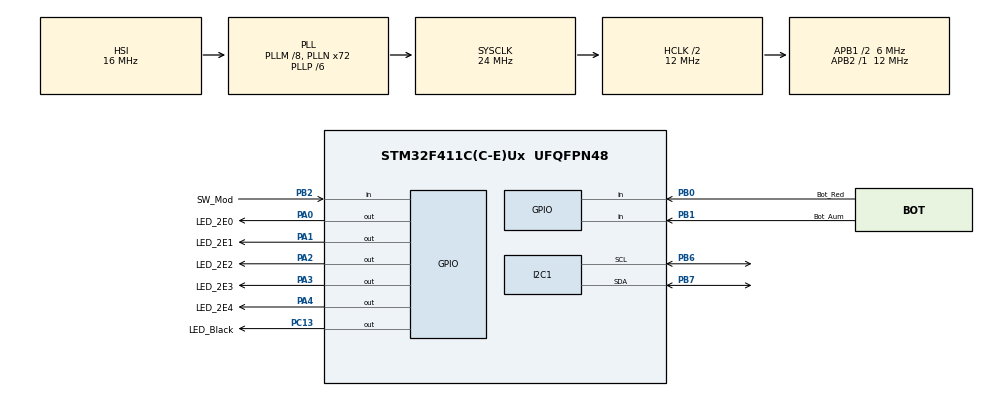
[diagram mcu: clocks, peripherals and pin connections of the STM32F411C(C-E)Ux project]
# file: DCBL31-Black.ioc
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Mcu.Family=STM32F4
Mcu.Name=STM32F411C(C-E)Ux
Mcu.Package=UFQFPN48
NVIC.PriorityGroup=NVIC_PRIORITYGROUP_4
NVIC.TIM4_IRQn=true\:0\:0\:false\:false\:true\:true\:true\:true
PA0-WKUP.GPIO_Label=LED_2E0
PA0-WKUP.Signal=GPIO_Output
PA1.GPIO_Label=LED_2E1
PA1.Signal=GPIO_Output
PA13.Mode=Serial_Wire
PA13.Signal=SYS_JTMS-SWDIO
PA14.Mode=Serial_Wire
PA14.Signal=SYS_JTCK-SWCLK
PA2.GPIO_Label=LED_2E2
PA2.Signal=GPIO_Output
PA3.GPIO_Label=LED_2E3
PA3.Signal=GPIO_Output
PA4.GPIO_Label=LED_2E4
PA4.Signal=GPIO_Output
PB0.GPIO_Label=Bot_Red
PB0.GPIO_PuPd=GPIO_PULLDOWN
PB0.Signal=GPIO_Input
PB1.GPIO_Label=Bot_Aum
PB1.GPIO_PuPd=GPIO_PULLDOWN
PB1.Signal=GPIO_Input
PB2.GPIO_Label=SW_Mod
PB2.GPIO_PuPd=GPIO_PULLUP
PB2.Signal=GPIO_Input
PB6.Mode=I2C
PB6.Signal=I2C1_SCL
PB7.Mode=I2C
PB7.Signal=I2C1_SDA
PC13-ANTI_TAMP.GPIO_Label=LED_Black
PC13-ANTI_TAMP.Signal=GPIO_Output
PC14-OSC32_IN.Mode=LSE-External-Oscillator
PC14-OSC32_IN.Signal=RCC_OSC32_IN
PC15-OSC32_OUT.Mode=LSE-External-Oscillator
PC15-OSC32_OUT.Signal=RCC_OSC32_OUT
PH0\ -\ OSC_IN.Mode=HSE-External-Oscillator
PH0\ -\ OSC_IN.Signal=RCC_OSC_IN
PH1\ -\ OSC_OUT.Mode=HSE-External-Oscillator
PH1\ -\ OSC_OUT.Signal=RCC_OSC_OUT
ProjectManager.HeapSize=0x200
ProjectManager.StackSize=0x400
ProjectManager.TargetToolchain=STM32CubeIDE
RCC.48MHZClocksFreq_Value=36000000
RCC.AHBCLKDivider=RCC_SYSCLK_DIV2
RCC.AHBFreq_Value=12000000
RCC.APB1CLKDivider=RCC_HCLK_DIV2
RCC.APB1Freq_Value=6000000
RCC.APB1TimFreq_Value=12000000
RCC.APB2Freq_Value=12000000
RCC.APB2TimFreq_Value=12000000
RCC.CortexFreq_Value=12000000
RCC.HCLKFreq_Value=12000000
RCC.HSE_VALUE=25000000
RCC.HSI_VALUE=16000000
RCC.PLLM=8
RCC.PLLN=72
RCC.PLLP=RCC_PLLP_DIV6
RCC.SYSCLKFreq_VALUE=24000000
RCC.SYSCLKSource=RCC_SYSCLKSOURCE_PLLCLK
RCC.VCOOutputFreq_Value=144000000
TIM4.Period=64201-1
TIM4.Prescaler=21-1
VP_TIM4_VS_ClockSourceINT.Mode=Internal
board=custom

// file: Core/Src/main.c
/* USER CODE BEGIN Header */
/**
  ******************************************************************************
  * @file           : main.c
  * @brief          : Main program body
  ******************************************************************************
  * @attention
  *
  * Copyright (c) 2026 STMicroelectronics.
  * All rights reserved.
  *
  * This software is licensed under terms that can be found in the LICENSE file
  * in the root directory of this software component.
  * If no LICENSE file comes with this software, it is provided AS-IS.
  *
  ******************************************************************************
  */
/* USER CODE END Header */
#include "main.h"

/* USER CODE BEGIN Includes */
#include "LCD_I2C.h"
/* USER CODE END Includes */

I2C_HandleTypeDef hi2c1;

TIM_HandleTypeDef htim4;

/* USER CODE BEGIN PV */
I2C_LCD_HandleTypeDef lcd1;
/* USER CODE END PV */

void SystemClock_Config(void);
static void MX_GPIO_Init(void);
static void MX_TIM4_Init(void);
static void MX_I2C1_Init(void);

/* USER CODE BEGIN 0 */
 uint16_t MemEstadoSwitch = 2; //Co-Variavel para atualização do LCD
 uint16_t EstadoSwitch = 1; //Define o que aparece nos LCD, pode assumir ou 0 ou 1
 uint16_t PSCMod = 20; //Usada para modificar o PreScaler que consequentemente modifica o periodo
 uint16_t CBL = 1; //Contador Binario de LEDs -> valor real de LEDs Ascesos = CBL-1
 float PeriodoMS = ( (20 * 64200 ) / 12000); // Usada para medir o período de cada ciclo (em ms)
/* USER CODE END 0 */

 /* USER CODE BEGIN 1 */
void AtualizaLCD(I2C_LCD_HandleTypeDef * LCD, TIM_HandleTypeDef * Timer, uint16_t Estado)
{
	if(Estado != MemEstadoSwitch) //Houve mudança de estado?
		if (Estado) // 1
		{
		  LCD_Clear_All(LCD);
		  LCD_New_XY(LCD, 0, 0);
		  LCD_Put_String(LCD, "PreScaler: ");
		  LCD_Put_Converted_StringU16(LCD, Timer->Instance->PSC);

		  LCD_New_XY(LCD, 0, 1);
		  LCD_Put_String(LCD, "PeriodoMS: ");
		  LCD_Put_Converted_StringF(LCD, PeriodoMS);
		}
		else //0
		{
		  LCD_Clear_All(LCD);
		  LCD_New_XY(LCD, 0, 0);
		  LCD_Put_String(LCD, "Status:");
		  Timer->State==HAL_TIM_STATE_RESET?LCD_Put_String(LCD, "Inativo"):LCD_Put_String(LCD, "Ativo");

		  LCD_New_XY(LCD, 0, 1);
		  LCD_Put_String(LCD, "Contando:");
		  LCD_Put_Converted_StringU16(LCD, ( ( (Timer->Instance->PSC * Timer->Instance->CNT) / 12000) * 100 / PeriodoMS ) );
		  LCD_Put_Char(LCD,'%');
		}
	else //Então houve atualização de números
		if (Estado) //1
		{
			LCD_Clear_Partial_Row(LCD, 0, 11, 16);
			LCD_New_XY(LCD, 11, 0);
			LCD_Put_Converted_StringU16(LCD, Timer->Instance->PSC);

			LCD_Clear_Partial_Row(LCD, 1, 11, 16);
			LCD_New_XY(LCD, 11, 1);
			LCD_Put_Converted_StringF(LCD, PeriodoMS);
		}
		else // 0
		{
			LCD_Clear_Partial_Row(LCD, 1, 9, 16);
			LCD_New_XY(LCD, 9, 1);
			LCD_Put_Converted_StringU16(LCD, ( ( (Timer->Instance->PSC * Timer->Instance->CNT) / 12000) * 100 / PeriodoMS ) );
			LCD_Put_Char(LCD,'%');
		}

	MemEstadoSwitch = Estado;
}

void AtualizaPSCTimer(TIM_HandleTypeDef * Timer, uint16_t NovoPSC)
{
	Timer->Instance->PSC = NovoPSC;
	PeriodoMS = ( (NovoPSC * Timer->Instance->ARR ) / 12000);
	Timer->Instance->CNT = Timer->Instance->ARR;

	AtualizaLCD(&lcd1, Timer, EstadoSwitch);
}
 /* USER CODE END 1 */
int main(void)
{
  /* MCU Configuration--------------------------------------------------------*/

  /* Reset of all peripherals, Initializes the Flash interface and the Systick. */
  HAL_Init();

  /* Configure the system clock */
  SystemClock_Config();

  /* Initialize all configured peripherals */
  MX_GPIO_Init();
  MX_TIM4_Init();
  MX_I2C1_Init();
  /* USER CODE BEGIN 2 */
  HAL_TIM_Base_Start_IT(&htim4); /*Permite fazer interrupções*/

  lcd1.hi2c = &hi2c1;
  lcd1.address = 0x4E;
  LCD_Init(&lcd1);

  LCD_Clear_All(&lcd1);
  /* USER CODE END 2 */

  /* Infinite loop */
  /* USER CODE BEGIN WHILE */
  while (1)
	{
	//Para que o usuário possa pressionar o botão sem se preocupar com a função HAL_Delay()
	for(int i=0;i<8/*8*10ms = 80 ms*/;i++)
		{
			//Caso pressione o botão de reduzir periodo em 107ms:
			if(HAL_GPIO_ReadPin(GPIOB, Bot_Red_Pin))
			{
				while((HAL_GPIO_ReadPin(GPIOB, Bot_Red_Pin))!=0){}

				// Caso esteja no limite e tente diminuir, irá ao valor máximo
				PSCMod==20?
					PSCMod=65520 //Vai ao valor máximo, Período de 5min + 50.53s (350.53s)
					: //Se não estiver no valor mínimo definido, então
					(PSCMod-=20); // Reduz 107 ms do periodo

				AtualizaPSCTimer(&htim4, PSCMod);
			}

			//Caso pressione o botão de aumentar o periodo em 107 ms:
			if(HAL_GPIO_ReadPin(GPIOB, Bot_Aum_Pin))
			{
				while((HAL_GPIO_ReadPin(GPIOB, Bot_Aum_Pin))!=0){}

				// Caso esteja no limite e tente aumentar, irá ao valor mínimo
				PSCMod==65520?//Limite uint16_t == 65535 | 65520/20 == 3276 | 3276 * 107 == 350 532 ms == 350.53s
					PSCMod=20 // Valor mínimo definido, Período de 107 ms
					: //Se não estiver no valor máximo definido, então
					(PSCMod+=20); // Aumenta 107 ms do período

				AtualizaPSCTimer(&htim4, PSCMod);
			}

		  //10ms*8=80ms
		  HAL_Delay(10);
		}

	  //Pisca LED Black (a cada 83ms):
	  HAL_Delay(3); //Queremos com 12Hz ~= 83ms
	  HAL_GPIO_TogglePin(GPIOC, LED_Black_Pin);

	  //Atualiza LCD:
	  EstadoSwitch = HAL_GPIO_ReadPin(GPIOB, SW_Mod_Pin);
	  AtualizaLCD(&lcd1, &htim4, EstadoSwitch);
	}
    /* USER CODE END WHILE */
}
    /* USER CODE BEGIN 3 */
void HAL_TIM_PeriodElapsedCallback (TIM_HandleTypeDef * Timer) /*Ativada a cada 1 PeriodoMS || mudança em seu valor*/
{
	//Saídas A,B,C podem ser (des)ativadas ao mesmo tempo ao (des)ativar a soma delas
	HAL_GPIO_WritePin(GPIOA, ~(CBL), 0); //Apaga LEDs ~correspondentes ao contador CBL
	HAL_GPIO_WritePin(GPIOA, (CBL), 1); //Ascende os LEDs correspondentes ao contador CBL

	CBL==31?CBL=0:CBL++; //Incrementa o contador até resetá-lo quando chegar à 2^5-1
}
  /* USER CODE END 3 */

void SystemClock_Config(void)
{
  RCC_OscInitTypeDef RCC_OscInitStruct = {0};
  RCC_ClkInitTypeDef RCC_ClkInitStruct = {0};

  /** Configure the main internal regulator output voltage
  */
  __HAL_RCC_PWR_CLK_ENABLE();
  __HAL_PWR_VOLTAGESCALING_CONFIG(PWR_REGULATOR_VOLTAGE_SCALE1);

  /** Initializes the RCC Oscillators according to the specified parameters
  * in the RCC_OscInitTypeDef structure.
  */
  RCC_OscInitStruct.OscillatorType = RCC_OSCILLATORTYPE_HSI;
  RCC_OscInitStruct.HSIState = RCC_HSI_ON;
  RCC_OscInitStruct.HSICalibrationValue = RCC_HSICALIBRATION_DEFAULT;
  RCC_OscInitStruct.PLL.PLLState = RCC_PLL_ON;
  RCC_OscInitStruct.PLL.PLLSource = RCC_PLLSOURCE_HSI;
  RCC_OscInitStruct.PLL.PLLM = 8;
  RCC_OscInitStruct.PLL.PLLN = 72;
  RCC_OscInitStruct.PLL.PLLP = RCC_PLLP_DIV6;
  RCC_OscInitStruct.PLL.PLLQ = 4;
  if (HAL_RCC_OscConfig(&RCC_OscInitStruct) != HAL_OK)
  {
    Error_Handler();
  }

  /** Initializes the CPU, AHB and APB buses clocks
  */
  RCC_ClkInitStruct.ClockType = RCC_CLOCKTYPE_HCLK|RCC_CLOCKTYPE_SYSCLK
                              |RCC_CLOCKTYPE_PCLK1|RCC_CLOCKTYPE_PCLK2;
  RCC_ClkInitStruct.SYSCLKSource = RCC_SYSCLKSOURCE_PLLCLK;
  RCC_ClkInitStruct.AHBCLKDivider = RCC_SYSCLK_DIV2;
  RCC_ClkInitStruct.APB1CLKDivider = RCC_HCLK_DIV2;
  RCC_ClkInitStruct.APB2CLKDivider = RCC_HCLK_DIV1;

  if (HAL_RCC_ClockConfig(&RCC_ClkInitStruct, FLASH_LATENCY_0) != HAL_OK)
  {
    Error_Handler();
  }
}

static void MX_I2C1_Init(void)
{

  hi2c1.Instance = I2C1;
  hi2c1.Init.ClockSpeed = 100000;
  hi2c1.Init.DutyCycle = I2C_DUTYCYCLE_2;
  hi2c1.Init.OwnAddress1 = 0;
  hi2c1.Init.AddressingMode = I2C_ADDRESSINGMODE_7BIT;
  hi2c1.Init.DualAddressMode = I2C_DUALADDRESS_DISABLE;
  hi2c1.Init.OwnAddress2 = 0;
  hi2c1.Init.GeneralCallMode = I2C_GENERALCALL_DISABLE;
  hi2c1.Init.NoStretchMode = I2C_NOSTRETCH_DISABLE;
  if (HAL_I2C_Init(&hi2c1) != HAL_OK)
  {
    Error_Handler();
  }

}

static void MX_TIM4_Init(void)
{

  TIM_ClockConfigTypeDef sClockSourceConfig = {0};
  TIM_MasterConfigTypeDef sMasterConfig = {0};

  htim4.Instance = TIM4;
  htim4.Init.Prescaler = 20;
  htim4.Init.CounterMode = TIM_COUNTERMODE_UP;
  htim4.Init.Period = 64200;
  htim4.Init.ClockDivision = TIM_CLOCKDIVISION_DIV1;
  htim4.Init.AutoReloadPreload = TIM_AUTORELOAD_PRELOAD_DISABLE;
  if (HAL_TIM_Base_Init(&htim4) != HAL_OK)
  {
    Error_Handler();
  }
  sClockSourceConfig.ClockSource = TIM_CLOCKSOURCE_INTERNAL;
  if (HAL_TIM_ConfigClockSource(&htim4, &sClockSourceConfig) != HAL_OK)
  {
    Error_Handler();
  }
  sMasterConfig.MasterOutputTrigger = TIM_TRGO_RESET;
  sMasterConfig.MasterSlaveMode = TIM_MASTERSLAVEMODE_DISABLE;
  if (HAL_TIMEx_MasterConfigSynchronization(&htim4, &sMasterConfig) != HAL_OK)
  {
    Error_Handler();
  }

}

static void MX_GPIO_Init(void)
{
  GPIO_InitTypeDef GPIO_InitStruct = {0};

  /* GPIO Ports Clock Enable */
  __HAL_RCC_GPIOC_CLK_ENABLE();
  __HAL_RCC_GPIOH_CLK_ENABLE();
  __HAL_RCC_GPIOA_CLK_ENABLE();
  __HAL_RCC_GPIOB_CLK_ENABLE();

  /*Configure GPIO pin Output Level */
  HAL_GPIO_WritePin(LED_Black_GPIO_Port, LED_Black_Pin, GPIO_PIN_RESET);

  /*Configure GPIO pin Output Level */
  HAL_GPIO_WritePin(GPIOA, LED_2E0_Pin|LED_2E1_Pin|LED_2E2_Pin|LED_2E3_Pin
                          |LED_2E4_Pin, GPIO_PIN_RESET);

  /*Configure GPIO pin : LED_Black_Pin */
  GPIO_InitStruct.Pin = LED_Black_Pin;
  GPIO_InitStruct.Mode = GPIO_MODE_OUTPUT_PP;
  GPIO_InitStruct.Pull = GPIO_NOPULL;
  GPIO_InitStruct.Speed = GPIO_SPEED_FREQ_LOW;
  HAL_GPIO_Init(LED_Black_GPIO_Port, &GPIO_InitStruct);

  /*Configure GPIO pins : LED_2E0_Pin LED_2E1_Pin LED_2E2_Pin LED_2E3_Pin
                           LED_2E4_Pin */
  GPIO_InitStruct.Pin = LED_2E0_Pin|LED_2E1_Pin|LED_2E2_Pin|LED_2E3_Pin
                          |LED_2E4_Pin;
  GPIO_InitStruct.Mode = GPIO_MODE_OUTPUT_PP;
  GPIO_InitStruct.Pull = GPIO_NOPULL;
  GPIO_InitStruct.Speed = GPIO_SPEED_FREQ_LOW;
  HAL_GPIO_Init(GPIOA, &GPIO_InitStruct);

  /*Configure GPIO pins : Bot_Red_Pin Bot_Aum_Pin */
  GPIO_InitStruct.Pin = Bot_Red_Pin|Bot_Aum_Pin;
  GPIO_InitStruct.Mode = GPIO_MODE_INPUT;
  GPIO_InitStruct.Pull = GPIO_PULLDOWN;
  HAL_GPIO_Init(GPIOB, &GPIO_InitStruct);

  /*Configure GPIO pin : SW_Mod_Pin */
  GPIO_InitStruct.Pin = SW_Mod_Pin;
  GPIO_InitStruct.Mode = GPIO_MODE_INPUT;
  GPIO_InitStruct.Pull = GPIO_PULLUP;
  HAL_GPIO_Init(SW_Mod_GPIO_Port, &GPIO_InitStruct);

}

void Error_Handler(void)
{
  __disable_irq();
  while (1)
  {
  }
}
